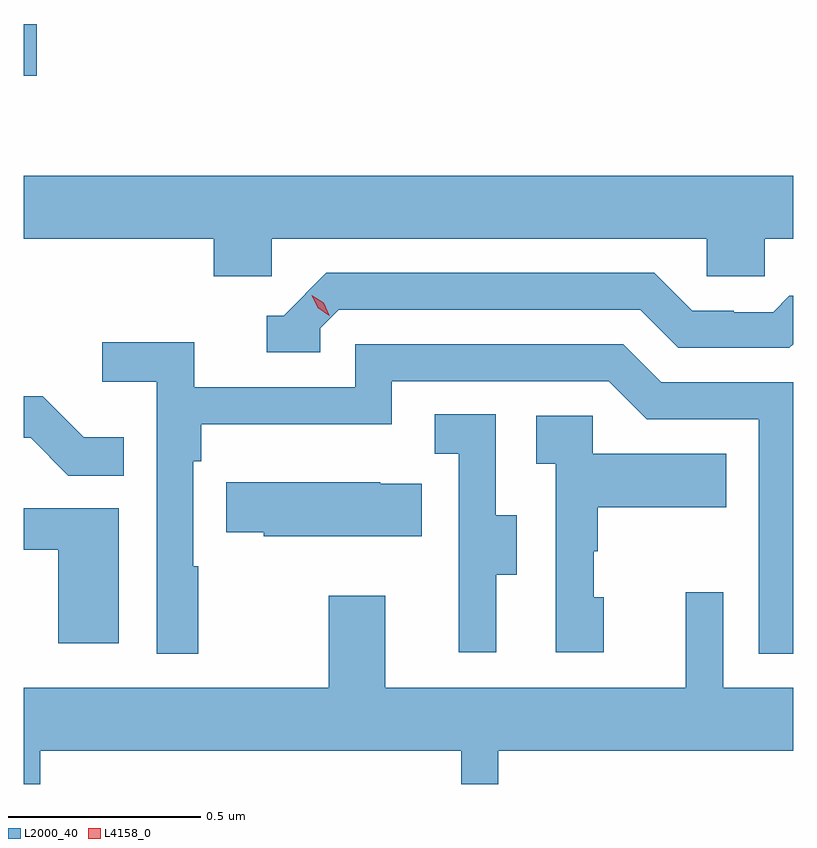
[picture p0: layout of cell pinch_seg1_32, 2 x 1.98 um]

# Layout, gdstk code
import gdstk
lib = gdstk.Library(unit=1e-6, precision=1e-09)
def R(c, l, rs):  # rectangles x0, y0, x1, y1
    for r in rs: c.add(gdstk.rectangle(r[:2], r[2:], *l))
def P(c, l, *ps):  # polygons
    for p in ps: c.add(gdstk.Polygon(p, *l))
L2000_40 = (2000, 40)
L4158_0 = (4158, 0)

pinch_seg1_32 = lib.new_cell('pinch_seg1_32')
R(pinch_seg1_32, L2000_40, [(1136.949,568.139,1136.983,568.274)])
P(pinch_seg1_32, L2000_40, [(1137.594,567.716),(1138.725,567.716),(1138.725,567.618),(1138.875,567.618),(1138.875,567.716),(1138.949,567.716),(1138.949,567.88),(1136.949,567.88),(1136.949,567.716),(1137.443,567.716),(1137.443,567.618),(1137.594,567.618)],
  [(1137.72,567.483),(1137.768,567.531),(1138.551,567.531),(1138.65,567.432),(1138.939,567.432),(1138.949,567.442),(1138.949,567.568),(1138.939,567.568),(1138.897,567.525),(1138.794,567.525),(1138.794,567.528),(1138.687,567.528),(1138.588,567.627),(1137.735,567.627),(1137.624,567.516),(1137.581,567.516),(1137.581,567.42),(1137.72,567.42)],
  [(1137.403,566.864),(1137.39,566.864),(1137.39,567.137),(1137.41,567.137),(1137.41,567.233),(1137.906,567.233),(1137.906,567.345),(1138.47,567.345),(1138.569,567.246),(1138.86,567.246),(1138.86,566.637),(1138.949,566.637),(1138.949,567.342),(1138.606,567.342),(1138.507,567.441),(1137.81,567.441),(1137.81,567.33),(1137.392,567.33),(1137.392,567.446),(1137.153,567.446),(1137.153,567.344),(1137.294,567.344),(1137.294,566.637),(1137.403,566.637)],
  [(1137.209,567.199),(1137.105,567.199),(1136.998,567.306),(1136.949,567.306),(1136.949,567.198),(1136.967,567.198),(1137.065,567.1),(1137.209,567.1)],
  [(1138.177,566.842),(1138.231,566.842),(1138.231,566.997),(1138.176,566.997),(1138.176,567.26),(1138.017,567.26),(1138.017,567.157),(1138.08,567.157),(1138.08,566.853),(1138.079,566.853),(1138.079,566.64),(1138.177,566.64)],
  [(1138.456,566.784),(1138.431,566.784),(1138.431,566.903),(1138.441,566.903),(1138.441,567.017),(1138.775,567.017),(1138.775,567.157),(1138.428,567.157),(1138.428,567.255),(1138.281,567.255),(1138.281,567.131),(1138.332,567.131),(1138.332,566.64),(1138.456,566.64)],
  [(1137.983,567.079),(1137.875,567.079),(1137.875,567.082),(1137.475,567.082),(1137.475,566.953),(1137.573,566.953),(1137.573,566.942),(1137.983,566.942)],
  [(1137.196,567.015),(1136.949,567.015),(1136.949,566.907),(1137.038,566.907),(1137.038,566.664),(1137.196,566.664)],
  [(1136.991,566.384),(1138.086,566.384),(1138.086,566.298),(1138.182,566.298),(1138.182,566.384),(1138.949,566.384),(1138.949,566.548),(1138.767,566.548),(1138.767,566.797),(1138.67,566.797),(1138.67,566.548),(1137.889,566.548),(1137.889,566.788),(1137.742,566.788),(1137.742,566.548),(1136.949,566.548),(1136.949,566.298),(1136.991,566.298)])
P(pinch_seg1_32, L4158_0, [(1137.743,567.516),(1137.713,567.536),(1137.697,567.569),(1137.697,567.569),(1137.697,567.569),(1137.728,567.549),(1137.743,567.517),(1137.743,567.516)])

lib.write_gds('pinch_seg1_32.gds')
